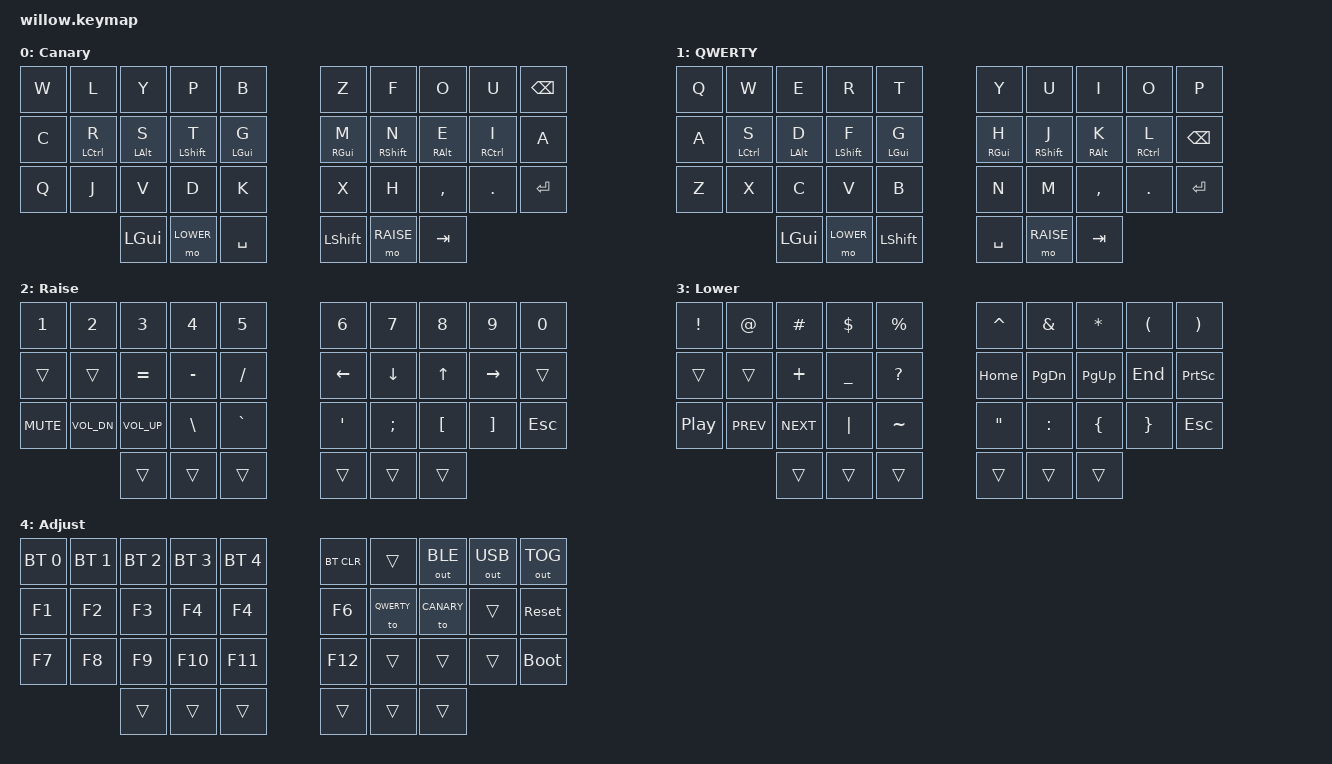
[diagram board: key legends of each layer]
/*
 * Copyright (c) 2020 The ZMK Contributors
 *
 * SPDX-License-Identifier: MIT
 */

#include <behaviors.dtsi>
#include <dt-bindings/zmk/keys.h>
#include <dt-bindings/zmk/bt.h>
#include <dt-bindings/zmk/outputs.h>

#define CANARY 0
#define QWERTY 1
#define RAISE 2
#define LOWER 3
#define ADJUST 4

/ {
    conditional_layers {
        compatible = "zmk,conditional-layers";
        tri_layer {
            if-layers = <RAISE LOWER>;
            then-layer = <ADJUST>;
        };
    };
};

/ {
    behaviors {
        hm: homerow_mods {
            compatible = "zmk,behavior-hold-tap";
            #binding-cells = <2>;
            tapping-term-ms = <225>;
            flavor = "tap-preferred";
            bindings = <&kp>, <&kp>;
        };
    };
};


/ {
    keymap {
        compatible = "zmk,keymap";

        canary_layer {
            display-name = "Canary";
            bindings = <
&kp W     &kp L       &kp Y      &kp P       &kp B      &kp Z      &kp F       &kp O          &kp U       &kp BSPC
&kp C     &hm LCTRL R &hm LALT S &hm LSHFT T &hm LGUI G &hm RGUI M &hm RSHFT N &hm RALT E     &hm RCTRL I &kp A
&kp Q     &kp J       &kp V      &kp D       &kp K      &kp X      &kp H       &kp COMMA      &kp DOT     &kp ENTER
                      &kp LGUI   &mo LOWER   &kp SPACE  &kp LSHIFT &mo RAISE   &kp TAB
            >;
        };
               
        qwerty_layer {
            display-name = "QWERTY";
            bindings = <
&kp Q     &kp W       &kp E      &kp R       &kp T      &kp Y      &kp U       &kp I          &kp O       &kp P
&kp A     &hm LCTRL S &hm LALT D &hm LSHFT F &hm LGUI G &hm RGUI H &hm RSHFT J &hm RALT K     &hm RCTRL L &kp BSPC
&kp Z     &kp X       &kp C      &kp V       &kp B      &kp N      &kp M       &kp COMMA      &kp DOT     &kp ENTER
                      &kp LGUI   &mo LOWER   &kp LSHIFT &kp SPACE  &mo RAISE   &kp TAB
            >;
        };

        raise_layer {
            display-name = "Raise";
            bindings = <
&kp N1     &kp N2       &kp N3       &kp N4    &kp N5     &kp N6   &kp N7   &kp N8   &kp N9    &kp N0
&trans     &trans       &kp EQUAL    &kp MINUS &kp SLASH  &kp LEFT &kp DOWN &kp UP   &kp RIGHT &trans
&kp C_MUTE &kp C_VOL_DN &kp C_VOL_UP &kp BSLH  &kp GRAVE  &kp SQT  &kp SEMI &kp LBKT &kp RBKT  &kp ESC
                        &trans       &trans    &trans     &trans   &trans   &trans
            >;
        };

        lower_layer {
            display-name = "Lower";
            bindings = <
&kp EXCL &kp AT     &kp HASH   &kp DLLR  &kp PRCNT &kp CARET &kp AMPS  &kp STAR  &kp LPAR &kp RPAR
&trans   &trans     &kp PLUS   &kp UNDER &kp QMARK &kp HOME  &kp PG_DN &kp PG_UP &kp END  &kp PSCRN
&kp C_PP &kp C_PREV &kp C_NEXT &kp PIPE  &kp TILDE &kp DQT   &kp COLON &kp LBRC  &kp RBRC &kp ESC
                    &trans     &trans    &trans    &trans    &trans    &trans
            >;
        };

        adjust_layer {
            display-name = "Adjust";
            bindings = <
&bt BT_SEL 0 &bt BT_SEL 1 &bt BT_SEL 2 &bt BT_SEL 3 &bt BT_SEL 4 &bt BT_CLR &trans     &out OUT_BLE &out OUT_USB &out OUT_TOG
&kp F1       &kp F2       &kp F3       &kp F4       &kp F4       &kp F6     &to QWERTY &to CANARY   &trans       &sys_reset
&kp F7       &kp F8       &kp F9       &kp F10      &kp F11      &kp F12    &trans     &trans       &trans       &bootloader
                          &trans       &trans       &trans       &trans     &trans     &trans
            >;
        };
    };
};
